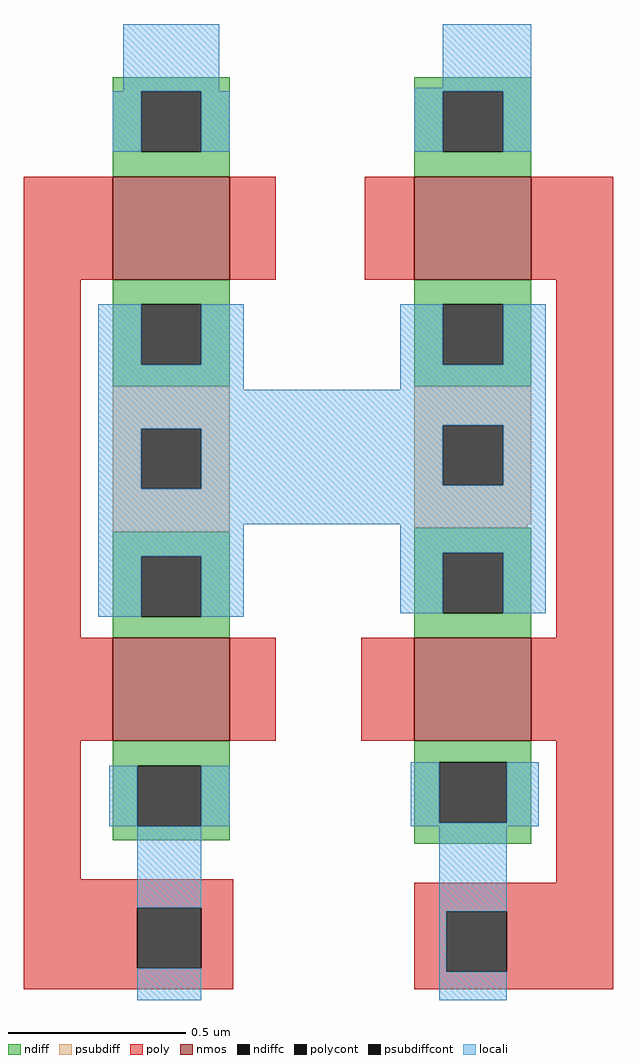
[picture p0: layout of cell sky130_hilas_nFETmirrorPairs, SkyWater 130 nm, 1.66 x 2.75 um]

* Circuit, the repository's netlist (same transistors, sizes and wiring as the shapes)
* Copyright 2020 The Hilas PDK Authors
* 
* This file is part of HILAS.
* 
* HILAS is free software: you can redistribute it and/or modify
* it under the terms of the GNU Lesser General Public License as published by
* the Free Software Foundation, version 3 of the License.
* 
* HILAS is distributed in the hope that it will be useful,
* but WITHOUT ANY WARRANTY; without even the implied warranty of
* MERCHANTABILITY or FITNESS FOR A PARTICULAR PURPOSE.  See the
* GNU Lesser General Public License for more details.
* 
* You should have received a copy of the GNU Lesser General Public License
* along with HILAS.  If not, see <https://www.gnu.org/licenses/>.
* 
* Licensed under the Lesser General Public License, Version 3.0 (the "License");
* you may not use this file except in compliance with the License.
* You may obtain a copy of the License at
* 
* https://www.gnu.org/licenses/lgpl-3.0.en.html
* 
* Unless required by applicable law or agreed to in writing, software
* distributed under the License is distributed on an "AS IS" BASIS,
* WITHOUT WARRANTIES OR CONDITIONS OF ANY KIND, either express or implied.
* See the License for the specific language governing permissions and
* limitations under the License.
* 
* SPDX-License-Identifier: LGPL-3.0
* 
* 

* NGSPICE file created from sky130_hilas_nFETmirrorPairs.ext - technology: sky130A


* Top level circuit sky130_hilas_nFETmirrorPairs

X0 a_n16_n180# a_n66_n378# a_n66_n378# a_n16_n180# sky130_fd_pr__nfet_01v8 w=330000u l=290000u
X1 a_n16_80# a_n66_n378# a_n16_n180# a_n16_n180# sky130_fd_pr__nfet_01v8 w=330000u l=290000u
X2 a_154_80# a_124_n238# a_n16_n180# a_n16_n180# sky130_fd_pr__nfet_01v8 w=330000u l=290000u
X3 a_n16_n180# a_124_n238# a_124_n238# a_n16_n180# sky130_fd_pr__nfet_01v8 w=330000u l=290000u
.end

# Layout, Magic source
magic
tech sky130A
<< nmos >>
rect 25 203 58 232
rect 110 203 143 232
rect 25 73 58 102
rect 110 73 143 102
<< ndiff >>
rect 25 256 58 260
rect 25 239 33 256
rect 50 239 58 256
rect 25 232 58 239
rect 110 256 143 260
rect 110 239 118 256
rect 135 239 143 256
rect 110 232 143 239
rect 25 196 58 203
rect 25 179 33 196
rect 50 179 58 196
rect 25 173 58 179
rect 25 125 58 132
rect 25 108 33 125
rect 50 108 58 125
rect 25 102 58 108
rect 110 196 143 203
rect 110 179 118 196
rect 135 179 143 196
rect 110 173 143 179
rect 110 126 143 133
rect 110 109 118 126
rect 135 109 143 126
rect 110 102 143 109
rect 25 66 58 73
rect 25 49 32 66
rect 50 49 58 66
rect 25 45 58 49
rect 110 67 143 73
rect 110 50 117 67
rect 136 50 143 67
rect 110 44 143 50
<< ndiffc >>
rect 33 239 50 256
rect 118 239 135 256
rect 33 179 50 196
rect 33 108 50 125
rect 118 179 135 196
rect 118 109 135 126
rect 32 49 50 66
rect 117 50 136 67
<< psubdiff >>
rect 25 161 58 173
rect 25 144 33 161
rect 50 144 58 161
rect 25 132 58 144
rect 110 162 143 173
rect 110 145 118 162
rect 135 145 143 162
rect 110 134 143 145
rect 110 133 142 134
<< psubdiffcont >>
rect 33 144 50 161
rect 118 145 135 162
<< poly >>
rect 0 203 25 232
rect 58 203 71 232
rect 96 203 110 232
rect 143 203 166 232
rect 0 102 16 203
rect 150 102 166 203
rect 0 73 25 102
rect 58 73 71 102
rect 95 73 110 102
rect 143 73 166 102
rect 0 34 16 73
rect 0 26 59 34
rect 150 33 166 73
rect 0 9 32 26
rect 50 9 59 26
rect 0 3 59 9
rect 110 25 166 33
rect 110 8 119 25
rect 136 8 166 25
rect 110 3 166 8
<< polycont >>
rect 32 9 50 26
rect 119 8 136 25
<< locali >>
rect 28 256 55 275
rect 118 257 143 275
rect 110 256 143 257
rect 25 239 33 256
rect 50 239 58 256
rect 110 239 118 256
rect 135 239 143 256
rect 21 179 33 196
rect 50 179 62 196
rect 21 172 62 179
rect 106 179 118 196
rect 135 179 147 196
rect 106 172 147 179
rect 21 162 147 172
rect 21 161 118 162
rect 21 144 33 161
rect 50 145 118 161
rect 135 145 147 162
rect 50 144 147 145
rect 21 134 147 144
rect 21 125 62 134
rect 21 108 33 125
rect 50 108 62 125
rect 106 126 147 134
rect 106 109 118 126
rect 135 109 147 126
rect 24 49 32 66
rect 50 49 58 66
rect 109 50 117 67
rect 136 50 145 67
rect 109 49 145 50
rect 32 26 50 49
rect 32 0 50 9
rect 117 25 136 49
rect 117 8 119 25
rect 117 0 136 8
<< properties >>
string LEFsite unithd
string LEFclass CORE
string LEFsymmetry X Y R90
<< end >>
